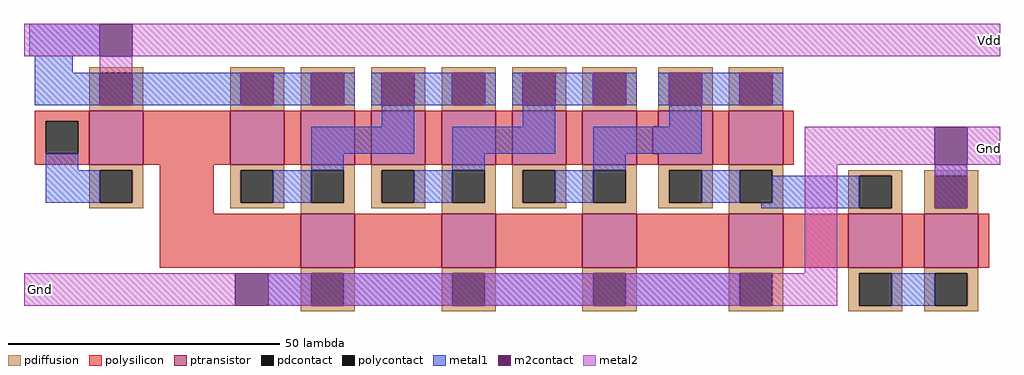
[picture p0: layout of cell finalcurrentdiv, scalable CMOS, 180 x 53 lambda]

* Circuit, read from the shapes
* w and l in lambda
.subckt finalcurrentdiv Gnd Vdd
M1 Vdd n1 n1 NWELL pfet w=10 l=10
M2 Vdd n1 n2 NWELL pfet w=10 l=10 m=2
M3 n2 n1 Gnd NWELL pfet w=10 l=10
M4 n2 n1 n3 NWELL pfet w=10 l=10 m=2
M5 n3 n1 Gnd NWELL pfet w=10 l=10
M6 n3 n1 n4 NWELL pfet w=10 l=10 m=2
M7 n4 n1 Gnd NWELL pfet w=10 l=10
M8 n4 n1 n5 NWELL pfet w=10 l=10.5
M9 n5 n1 Gnd NWELL pfet w=10 l=10
M10 n4 n1 n5 NWELL pfet w=10 l=10
M11 n5 n1 n6 NWELL pfet w=10 l=10
M12 Gnd n1 n6 NWELL pfet w=10 l=10
.ends

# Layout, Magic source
magic
tech scmos
<< ptransistor >>
rect -19 19 -9 29
rect 7 19 17 29
rect 20 19 30 29
rect 33 19 43 29
rect 46 19 56 29
rect 59 19 69 29
rect 72 19 82 29
rect 86 26 96 29
rect 85 21 96 26
rect 86 19 96 21
rect 99 19 109 29
rect 20 0 30 10
rect 46 0 56 10
rect 72 0 82 10
rect 99 0 109 10
rect 121 0 131 10
rect 135 0 145 10
<< pdiffusion >>
rect -19 36 -9 37
rect -19 30 -17 36
rect -11 30 -9 36
rect -19 29 -9 30
rect 7 36 17 37
rect 7 30 9 36
rect 15 30 17 36
rect 7 29 17 30
rect 20 36 30 37
rect 20 30 22 36
rect 28 30 30 36
rect 20 29 30 30
rect 33 36 43 37
rect 33 30 35 36
rect 41 30 43 36
rect 33 29 43 30
rect 46 36 56 37
rect 46 30 48 36
rect 54 30 56 36
rect 46 29 56 30
rect 59 36 69 37
rect 59 30 61 36
rect 67 30 69 36
rect 59 29 69 30
rect 72 36 82 37
rect 72 30 74 36
rect 80 30 82 36
rect 72 29 82 30
rect 86 36 96 37
rect 86 30 88 36
rect 94 30 96 36
rect 86 29 96 30
rect 99 36 109 37
rect 99 30 101 36
rect 107 30 109 36
rect 99 29 109 30
rect -19 18 -9 19
rect -19 12 -17 18
rect -11 12 -9 18
rect -19 11 -9 12
rect 7 18 17 19
rect 7 12 9 18
rect 15 12 17 18
rect 7 11 17 12
rect 20 18 30 19
rect 20 12 22 18
rect 28 12 30 18
rect 20 10 30 12
rect 33 18 43 19
rect 33 12 35 18
rect 41 12 43 18
rect 33 11 43 12
rect 46 18 56 19
rect 46 12 48 18
rect 54 12 56 18
rect 46 10 56 12
rect 59 18 69 19
rect 59 12 61 18
rect 67 12 69 18
rect 59 11 69 12
rect 72 18 82 19
rect 72 12 74 18
rect 80 12 82 18
rect 72 10 82 12
rect 86 18 96 19
rect 86 12 88 18
rect 94 12 96 18
rect 86 11 96 12
rect 99 18 109 19
rect 99 12 101 18
rect 107 12 109 18
rect 99 10 109 12
rect 121 17 131 18
rect 121 11 123 17
rect 129 11 131 17
rect 121 10 131 11
rect 135 17 145 18
rect 135 11 137 17
rect 143 11 145 17
rect 135 10 145 11
rect 20 -1 30 0
rect 20 -7 22 -1
rect 28 -7 30 -1
rect 20 -8 30 -7
rect 46 -1 56 0
rect 46 -7 48 -1
rect 54 -7 56 -1
rect 46 -8 56 -7
rect 72 -1 82 0
rect 72 -7 74 -1
rect 80 -7 82 -1
rect 72 -8 82 -7
rect 99 -1 109 0
rect 99 -7 101 -1
rect 107 -7 109 -1
rect 99 -8 109 -7
rect 121 -1 131 0
rect 121 -7 123 -1
rect 129 -7 131 -1
rect 121 -8 131 -7
rect 135 -1 145 0
rect 135 -7 137 -1
rect 143 -7 145 -1
rect 135 -8 145 -7
<< pdcontact >>
rect -17 30 -11 36
rect 9 30 15 36
rect 22 30 28 36
rect 35 30 41 36
rect 48 30 54 36
rect 61 30 67 36
rect 74 30 80 36
rect 88 30 94 36
rect 101 30 107 36
rect -17 12 -11 18
rect 9 12 15 18
rect 22 12 28 18
rect 35 12 41 18
rect 48 12 54 18
rect 61 12 67 18
rect 74 12 80 18
rect 88 12 94 18
rect 101 12 107 18
rect 123 11 129 17
rect 137 11 143 17
rect 22 -7 28 -1
rect 48 -7 54 -1
rect 74 -7 80 -1
rect 101 -7 107 -1
rect 123 -7 129 -1
rect 137 -7 143 -1
<< polysilicon >>
rect -29 27 -19 29
rect -29 21 -27 27
rect -21 21 -19 27
rect -29 19 -19 21
rect -9 19 7 29
rect 17 19 20 29
rect 30 19 33 29
rect 43 19 46 29
rect 56 19 59 29
rect 69 19 72 29
rect 82 26 86 29
rect 82 21 85 26
rect 82 19 86 21
rect 96 19 99 29
rect 109 19 111 29
rect -6 10 4 19
rect -6 0 20 10
rect 30 0 46 10
rect 56 0 72 10
rect 82 0 99 10
rect 109 0 121 10
rect 131 0 135 10
rect 145 0 147 10
<< polycontact >>
rect -27 21 -21 27
<< metal1 >>
rect -30 39 -17 45
rect -29 36 -22 39
rect -29 30 -17 36
rect -11 30 9 36
rect 15 30 22 36
rect 28 30 30 36
rect 33 30 35 36
rect 41 30 48 36
rect 54 30 56 36
rect 59 30 61 36
rect 67 30 74 36
rect 80 30 82 36
rect 86 30 88 36
rect 94 30 101 36
rect 107 30 109 36
rect 35 26 41 30
rect 61 26 67 30
rect 88 26 94 30
rect -27 18 -21 21
rect 22 21 41 26
rect 48 21 67 26
rect 74 21 94 26
rect 22 18 28 21
rect 48 18 54 21
rect 74 18 80 21
rect -27 12 -17 18
rect 15 12 22 18
rect 41 12 48 18
rect 67 12 74 18
rect 94 12 101 18
rect 137 17 143 19
rect 107 12 123 17
rect 105 11 123 12
rect 14 -7 22 -1
rect 28 -7 48 -1
rect 54 -7 74 -1
rect 80 -7 101 -1
rect 129 -7 137 -1
<< m2contact >>
rect -17 39 -11 45
rect 137 19 143 26
rect 8 -7 14 -1
<< metal2 >>
rect -31 39 -17 45
rect -11 39 149 45
rect -17 30 -11 39
rect 9 30 15 36
rect 22 30 28 36
rect 35 30 41 36
rect 48 30 54 36
rect 61 30 67 36
rect 74 30 80 36
rect 88 30 94 36
rect 101 30 107 36
rect 113 19 137 26
rect 143 19 149 26
rect 113 -1 119 19
rect 137 11 143 19
rect -31 -7 8 -1
rect 14 -7 119 -1
<< labels >>
rlabel metal2 146 20 148 24 7 Gnd
rlabel metal2 146 40 148 44 6 Vdd
rlabel metal2 -29 -6 -27 -2 2 Gnd
<< end >>
